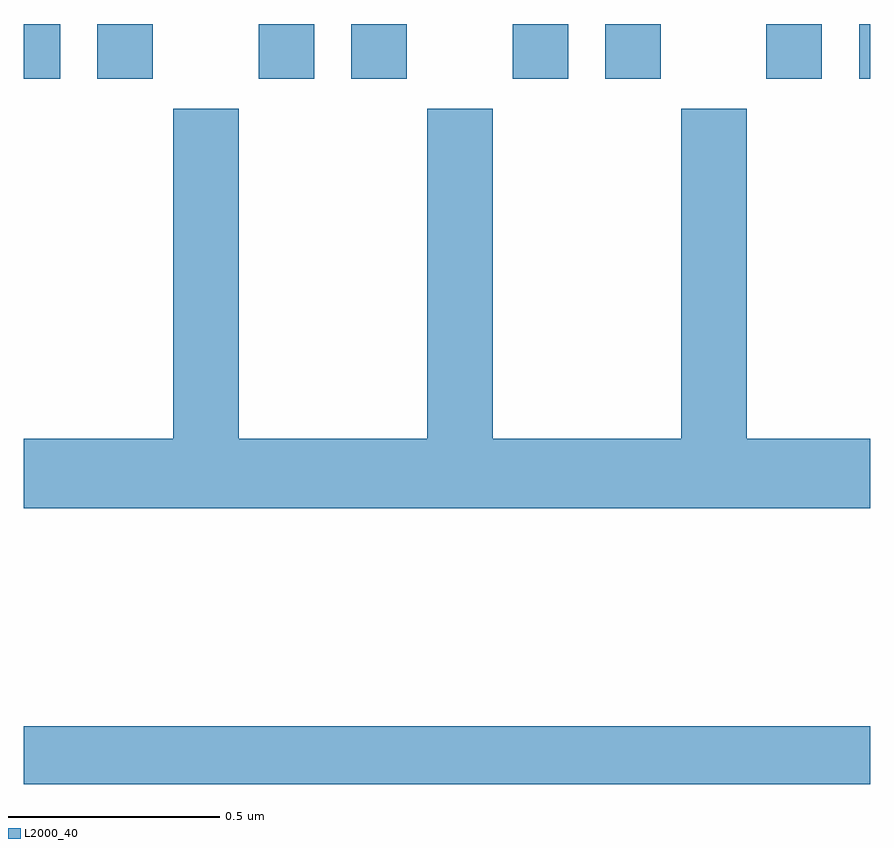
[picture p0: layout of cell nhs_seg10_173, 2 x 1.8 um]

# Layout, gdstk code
import gdstk
lib = gdstk.Library(unit=1e-6, precision=1e-09)
def R(c, l, rs):  # rectangles x0, y0, x1, y1
    for r in rs: c.add(gdstk.rectangle(r[:2], r[2:], *l))
def P(c, l, *ps):  # polygons
    for p in ps: c.add(gdstk.Polygon(p, *l))
L2000_40 = (2000, 40)

nhs_seg10_173 = lib.new_cell('nhs_seg10_173')
R(nhs_seg10_173, L2000_40, [(113,1259.704,115,1259.84), (113,1261.371,113.086,1261.5), (113.174,1261.371,113.305,1261.5), (113.555,1261.371,113.686,1261.5), (113.774,1261.371,113.905,1261.5), (114.155,1261.371,114.286,1261.5), (114.374,1261.371,114.505,1261.5), (114.755,1261.371,114.886,1261.5), (114.974,1261.371,115,1261.5)])
P(nhs_seg10_173, L2000_40, [(115,1260.52),(114.708,1260.52),(114.708,1261.3),(114.553,1261.3),(114.553,1260.52),(114.108,1260.52),(114.108,1261.3),(113.953,1261.3),(113.953,1260.52),(113.508,1260.52),(113.508,1261.3),(113.353,1261.3),(113.353,1260.52),(113,1260.52),(113,1260.356),(115,1260.356)])

lib.write_gds('nhs_seg10_173.gds')
